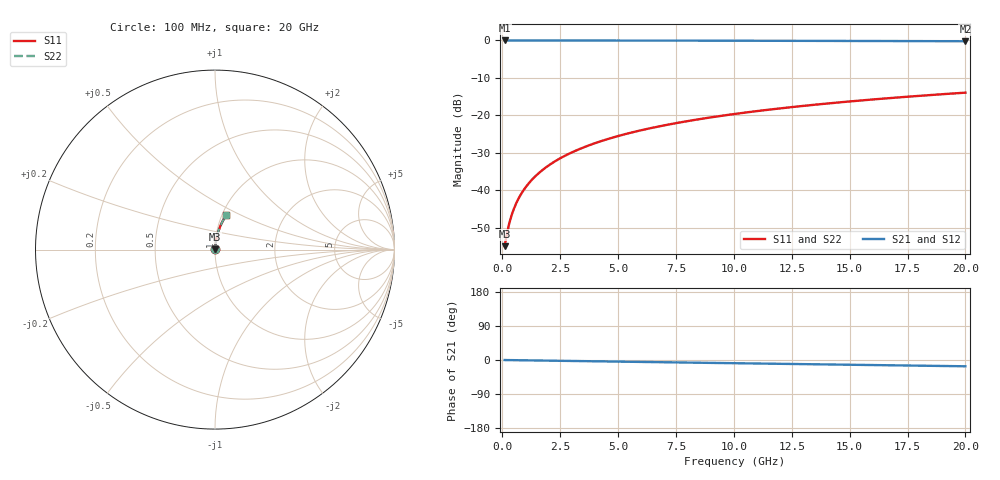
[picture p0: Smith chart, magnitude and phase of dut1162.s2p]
! Touchstone file exported from HFSS 2026.1.0
!  File:  C:/ffzhzh/LocalFiles/Ansys_Project_Files/temp_train_TMRDL_1162_1783162321_51560.aedt
!  Generated:  06:53:22 PM Jul  4, 2026
!  Design:  TMRDL
!  Project:  temp_train_TMRDL_1162_1783162321_51560
! Variables:
!  h_bsmrdl = 2um
!  h_ox = 20um
!  h_rdl = 5um
!  h_sub = 80um
!  h_tmrdl = 3.87um
!  h_tsv = 80um
!  h_via = 3um
!  l_bsmrdl = 300um
!  l_sub = 581.02um
!  l_tmrdl = 181.02um
!  m_sub = 200um
!  pitch = 45.19um
!  r_tsv = 6um
!  s_tmrdl = 10um
!  w_bsmrdl = 18um
!  w_sub = 500um
!  w_tmrdl = 13.17um
!  x_tsv_center1 = 187.605um
!  x_tsv_center2 = 505.605um
!  x_tsv_center3 = 699.795um
!  x_tsv_center4 = 1017.795um
!  x_tsv_center5 = 1211.985um
!  x_tsv_center6 = 1529.985um
# GHz S MA R 50.000000
! Terminal data exported
! Port[1] = TM_RDL1_1_T1
! Port[2] = TM_RDL1_1_T2
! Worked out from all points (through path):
!   200 points, 100 MHz to 20 GHz, reference 50 ohm
!   highest |S21| = -0.01 dB at 100 MHz (marker M1); lowest = -0.2 dB at 20 GHz (marker M2)
!   group delay of S21, straight-line fit = 2.3 ps
!   lowest |S11| = -54.9 dB at 100 MHz (marker M3), VSWR 1.00, Z = 50.1 + j0.111 ohm
!   |S11| at or under -10 dB: start of sweep to end of sweep
!   |S22| runs from -54.9 to -13.9 dB; largest |S21 - S12| = 4e-15
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0.1  0.001791 38.3  0.9986 -0.1  0.9986 -0.1  0.001791 38.3
! Gamma 0 0 0 0
! Port Impedance 50 0 50 0
0.2  0.002634 56.9  0.9986 -0.2  0.9986 -0.2  0.002634 56.9
0.3  0.003607 65.8  0.9985 -0.3  0.9985 -0.3  0.003607 65.8
0.4  0.00462 70.8  0.9985 -0.4  0.9985 -0.4  0.00462 70.8
0.5  0.005647 73.9  0.9985 -0.4  0.9985 -0.4  0.005647 73.9
0.6  0.006682 76.1  0.9984 -0.5  0.9984 -0.5  0.006682 76.1
0.8  0.008765 78.9  0.9984 -0.7  0.9984 -0.7  0.008765 78.9
1.1  0.01191 81.2  0.9983 -1.0  0.9983 -1.0  0.01191 81.2
1.5  0.01612 82.7  0.9982 -1.3  0.9982 -1.3  0.01612 82.7
1.8  0.01929 83.3  0.9981 -1.6  0.9981 -1.6  0.01929 83.3
2.1  0.02246 83.7  0.998 -1.8  0.998 -1.8  0.02246 83.7
2.7  0.02879 84.0  0.9977 -2.3  0.9977 -2.3  0.02879 84.0
3.5  0.0372 83.9  0.9973 -3.0  0.9973 -3.0  0.0372 83.9
4.2  0.04453 83.6  0.9968 -3.6  0.9968 -3.6  0.04453 83.6
5  0.05287 83.2  0.9962 -4.3  0.9962 -4.3  0.05287 83.2
5.9  0.06219 82.6  0.9955 -5.0  0.9955 -5.0  0.06219 82.6
6.8  0.07145 81.9  0.9946 -5.8  0.9946 -5.8  0.07145 81.9
8.3  0.08675 80.8  0.993 -7.0  0.993 -7.0  0.08675 80.8
10.1  0.1049 79.5  0.9909 -8.5  0.9909 -8.5  0.1049 79.5
13.4  0.1376 77.0  0.9862 -11.3  0.9862 -11.3  0.1376 77.0
16.7  0.1695 74.4  0.9807 -13.9  0.9807 -13.9  0.1695 74.4
20  0.2007 71.9  0.9744 -16.6  0.9744 -16.6  0.2007 71.9
